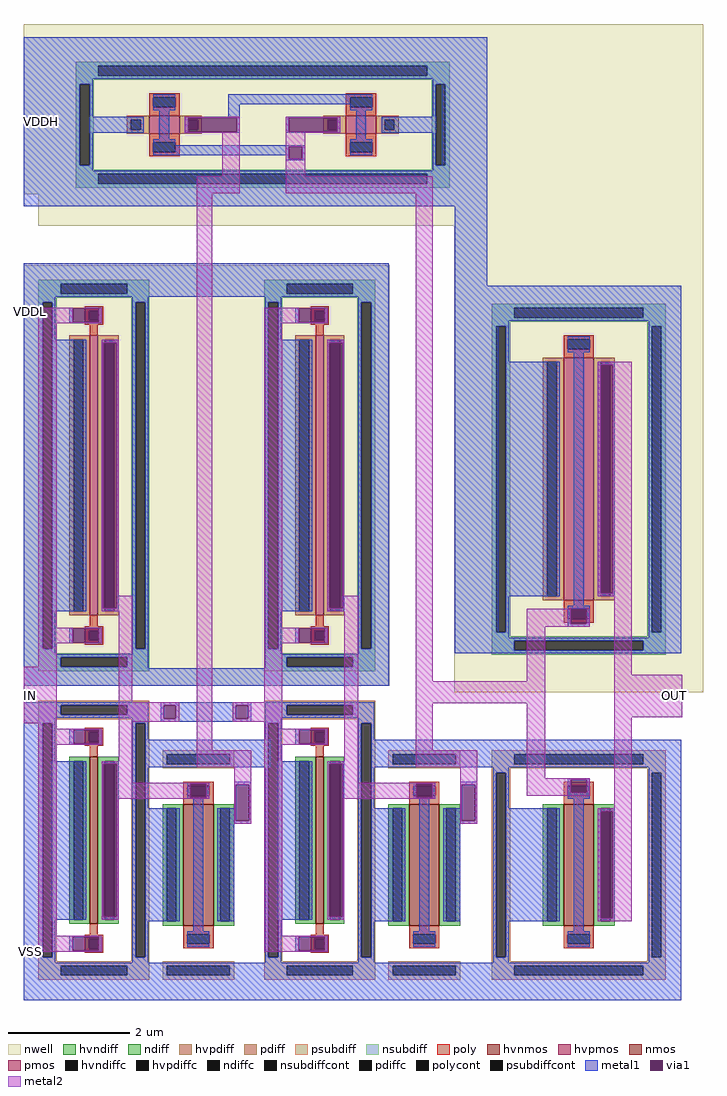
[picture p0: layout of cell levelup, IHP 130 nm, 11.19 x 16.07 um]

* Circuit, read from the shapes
.subckt levelup VDDH VDDL VSS IN OUT
XM1 n1 IN VSS VSS sg13_lv_nmos w=2.75u l=0.13u
XM2 n2 n1 VSS VSS sg13_hv_nmos w=2u l=0.5u
XM3 n3 n1 VSS VSS sg13_lv_nmos w=2.75u l=0.13u
XM4 n4 n3 VSS VSS sg13_hv_nmos w=2u l=0.5u
XM5 OUT n4 VSS VSS sg13_hv_nmos w=2u l=0.5u
XM6 n1 IN VDDL VDDL sg13_lv_pmos w=4.61u l=0.13u
XM7 n2 n4 VDDH VDDH sg13_hv_pmos w=0.3u l=0.5u
XM8 n3 n1 VDDL VDDL sg13_lv_pmos w=4.61u l=0.13u
XM9 VDDH n2 n4 VDDH sg13_hv_pmos w=0.3u l=0.5u
XM10 OUT n4 VDDH VDDH sg13_hv_pmos w=4u l=0.5u
.ends

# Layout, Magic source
magic
tech ihp-sg13g2
magscale 1 2
<< nwell >>
rect -868 1612 -816 2172
rect 5 1728 49 1768
rect -407 1344 -121 1378
rect 550 1367 1370 2172
rect -707 134 -621 182
rect -407 -8 288 1344
<< metal1 >>
rect -868 2000 659 2129
rect -868 1688 -685 2000
rect -441 1888 -369 1940
rect -194 1908 279 1940
rect -653 1814 -473 1866
rect -421 1792 -389 1888
rect -194 1866 -157 1908
rect 207 1888 279 1908
rect -337 1864 -157 1866
rect -337 1816 -327 1864
rect -167 1816 -157 1864
rect -337 1814 -157 1816
rect -5 1863 175 1866
rect -5 1817 5 1863
rect 165 1817 175 1863
rect -5 1814 175 1817
rect 227 1792 259 1888
rect 311 1814 491 1866
rect -441 1772 -369 1792
rect -441 1768 59 1772
rect -441 1740 5 1768
rect -5 1728 5 1740
rect 49 1728 59 1768
rect 207 1740 279 1792
rect -5 1724 59 1728
rect 508 1688 659 2000
rect -868 1572 659 1688
rect -868 1274 334 1384
rect -868 49 -812 1274
rect -718 1235 -611 1238
rect -718 1189 -706 1235
rect -621 1189 -611 1235
rect -718 1186 -611 1189
rect 26 1235 133 1238
rect 26 1189 38 1235
rect 123 1189 133 1235
rect 26 1186 133 1189
rect -768 238 -662 1132
rect -612 1122 -556 1132
rect -612 248 -606 1122
rect -562 248 -556 1122
rect -612 238 -556 248
rect -24 238 82 1132
rect 132 1122 188 1132
rect 132 248 138 1122
rect 182 248 188 1122
rect 132 238 188 248
rect -718 182 -611 184
rect -718 134 -707 182
rect -621 134 -611 182
rect -718 132 -611 134
rect 26 182 133 184
rect 26 134 37 182
rect 123 134 133 182
rect 26 132 133 134
rect 283 49 334 1274
rect 552 1309 659 1572
rect 552 1195 1298 1309
rect 552 99 697 1195
rect 924 1091 996 1143
rect 727 287 898 1059
rect 944 255 976 1091
rect 1022 1049 1078 1059
rect 1022 297 1032 1049
rect 1072 297 1078 1049
rect 1022 287 1078 297
rect 924 245 996 255
rect 924 196 934 245
rect 986 196 996 245
rect 924 187 996 196
rect 1200 100 1298 1195
rect -868 -8 334 49
rect -868 -920 -811 -62
rect -417 -72 -118 -62
rect -417 -116 -407 -72
rect -367 -116 -170 -72
rect -128 -116 -118 -72
rect -417 -126 -118 -116
rect -718 -153 -611 -150
rect -718 -199 -704 -153
rect -621 -199 -611 -153
rect 26 -153 133 -150
rect -718 -202 -611 -199
rect -777 -778 -662 -256
rect -612 -265 -556 -256
rect -612 -768 -606 -265
rect -562 -768 -556 -265
rect -461 -276 -54 -186
rect 26 -199 40 -153
rect 123 -199 133 -153
rect 26 -202 133 -199
rect -329 -331 -257 -328
rect -329 -377 -319 -331
rect -267 -377 -257 -331
rect -329 -380 -257 -377
rect -175 -334 -119 -324
rect -612 -778 -556 -768
rect -462 -784 -355 -412
rect -309 -816 -277 -380
rect -175 -412 -170 -334
rect -231 -452 -170 -412
rect -125 -452 -119 -334
rect -231 -462 -119 -452
rect -231 -784 -175 -462
rect -33 -778 82 -256
rect 132 -265 188 -256
rect 132 -768 138 -265
rect 182 -768 188 -265
rect 283 -276 1297 -186
rect 924 -317 996 -312
rect 415 -331 487 -328
rect 415 -377 425 -331
rect 477 -377 487 -331
rect 415 -380 487 -377
rect 569 -334 625 -324
rect 132 -778 188 -768
rect 282 -784 389 -412
rect 435 -816 467 -380
rect 569 -412 574 -334
rect 513 -452 574 -412
rect 619 -452 625 -334
rect 924 -360 934 -317
rect 986 -360 996 -317
rect 924 -380 996 -360
rect 513 -462 625 -452
rect 513 -784 569 -462
rect 726 -784 898 -412
rect 944 -816 976 -380
rect 1022 -422 1078 -412
rect 1022 -774 1032 -422
rect 1072 -774 1078 -422
rect 1022 -784 1078 -774
rect -718 -835 -611 -832
rect -718 -881 -706 -835
rect -621 -881 -611 -835
rect -329 -868 -257 -816
rect 26 -835 133 -832
rect -718 -884 -611 -881
rect 26 -881 38 -835
rect 123 -881 133 -835
rect 415 -868 487 -816
rect 924 -868 996 -816
rect 26 -884 133 -881
rect 1200 -920 1297 -276
rect -868 -1043 1297 -920
<< via1 >>
rect -327 1816 -167 1864
rect 5 1817 165 1863
rect 5 1728 49 1768
rect -706 1189 -621 1235
rect 38 1189 123 1235
rect -606 248 -562 1122
rect 138 248 182 1122
rect -707 134 -621 182
rect 37 134 123 182
rect 1032 297 1072 1049
rect 934 196 986 245
rect -407 -116 -367 -72
rect -170 -116 -128 -72
rect -704 -199 -621 -153
rect -606 -768 -562 -265
rect 40 -199 123 -153
rect -319 -377 -267 -331
rect -170 -452 -125 -334
rect 138 -768 182 -265
rect 425 -377 477 -331
rect 574 -452 619 -334
rect 934 -360 986 -317
rect 1032 -774 1072 -422
rect -706 -881 -621 -835
rect 38 -881 123 -835
<< metal2 >>
rect -337 1864 -157 1866
rect -337 1816 -327 1864
rect -167 1816 -157 1864
rect -337 1814 -157 1816
rect -215 1670 -157 1814
rect -298 1614 -157 1670
rect -5 1863 175 1866
rect -5 1817 5 1863
rect 165 1817 175 1863
rect -5 1814 175 1817
rect -5 1768 59 1814
rect -5 1728 5 1768
rect 49 1728 59 1768
rect -5 1670 59 1728
rect -5 1614 479 1670
rect -820 1235 -611 1238
rect -820 1189 -706 1235
rect -621 1189 -611 1235
rect -820 1186 -611 1189
rect -820 184 -760 1186
rect -612 1122 -556 1132
rect -612 248 -606 1122
rect -562 289 -556 1122
rect -562 248 -510 289
rect -612 238 -510 248
rect -820 182 -611 184
rect -820 134 -707 182
rect -621 134 -611 182
rect -820 132 -611 134
rect -820 54 -760 132
rect -868 -132 -760 54
rect -820 -150 -760 -132
rect -556 -62 -510 238
rect -556 -72 -356 -62
rect -556 -116 -407 -72
rect -367 -116 -356 -72
rect -556 -126 -356 -116
rect -820 -153 -611 -150
rect -820 -199 -704 -153
rect -621 -199 -611 -153
rect -820 -202 -611 -199
rect -820 -832 -760 -202
rect -556 -256 -510 -126
rect -612 -265 -510 -256
rect -612 -768 -606 -265
rect -562 -328 -510 -265
rect -298 -220 -248 1614
rect -76 1235 133 1238
rect -76 1189 38 1235
rect 123 1189 133 1235
rect -76 1186 133 1189
rect -76 184 -16 1186
rect 132 1122 188 1132
rect 132 248 138 1122
rect 182 289 188 1122
rect 182 248 234 289
rect 132 238 234 248
rect -76 182 133 184
rect -76 134 37 182
rect 123 134 133 182
rect -76 132 133 134
rect -76 -62 -16 132
rect -180 -72 -16 -62
rect -180 -116 -170 -72
rect -128 -116 -16 -72
rect -180 -126 -16 -116
rect -76 -150 -16 -126
rect -76 -153 133 -150
rect -76 -199 40 -153
rect 123 -199 133 -153
rect -76 -202 133 -199
rect -298 -276 -119 -220
rect -562 -331 -257 -328
rect -562 -377 -319 -331
rect -267 -377 -257 -331
rect -562 -380 -257 -377
rect -175 -334 -119 -276
rect -562 -768 -556 -380
rect -175 -452 -170 -334
rect -125 -452 -119 -334
rect -175 -462 -119 -452
rect -612 -778 -556 -768
rect -76 -832 -16 -202
rect 188 -256 234 238
rect 132 -265 234 -256
rect 132 -768 138 -265
rect 182 -328 234 -265
rect 423 7 479 1614
rect 1022 1049 1135 1059
rect 1022 297 1032 1049
rect 1072 297 1135 1049
rect 1022 287 1135 297
rect 789 196 934 245
rect 986 196 996 245
rect 789 187 996 196
rect 789 7 850 187
rect 423 -65 850 7
rect 423 -220 479 -65
rect 423 -276 625 -220
rect 182 -331 487 -328
rect 182 -377 425 -331
rect 477 -377 487 -331
rect 182 -380 487 -377
rect 569 -334 625 -276
rect 182 -768 188 -380
rect 569 -452 574 -334
rect 619 -452 625 -334
rect 789 -312 850 -65
rect 1077 29 1135 287
rect 1077 -111 1301 29
rect 789 -317 996 -312
rect 789 -360 934 -317
rect 986 -360 996 -317
rect 789 -370 996 -360
rect 1077 -412 1135 -111
rect 569 -462 625 -452
rect 1022 -422 1135 -412
rect 132 -778 188 -768
rect 1022 -774 1032 -422
rect 1072 -774 1135 -422
rect 1022 -784 1135 -774
rect -820 -835 -611 -832
rect -820 -881 -706 -835
rect -621 -881 -611 -835
rect -820 -884 -611 -881
rect -76 -835 133 -832
rect -76 -881 38 -835
rect 123 -881 133 -835
rect -76 -884 133 -881
use hvnmos_S23XCS  hvnmos_S23XCS_0
transform 1 0 960 0 1 -598
box -286 -378 286 378
use hvnmos_SAXWCS  hvnmos_SAXWCS_0
transform 1 0 -293 0 1 -598
box -118 -378 118 378
use hvnmos_SAXWCS  hvnmos_SAXWCS_1
transform 1 0 451 0 1 -598
box -118 -378 118 378
use hvpmos_G6BEXS  hvpmos_G6BEXS_0
transform 1 0 -405 0 1 1840
box -416 -332 1064 332
use hvpmos_Q23XCS  hvpmos_Q23XCS_0
transform 1 0 960 0 1 673
box -410 -702 410 702
use lvnmos_5Y4P6Y  lvnmos_5Y4P6Y_0
transform 1 0 -637 0 1 -517
box -183 -459 183 459
use lvnmos_5Y4P6Y  lvnmos_5Y4P6Y_1
transform 1 0 107 0 1 -517
box -183 -459 183 459
use lvpmos_5A4K6Y  lvpmos_5A4K6Y_0
transform 1 0 -637 0 1 685
box -231 -693 231 693
use lvpmos_5A4K6Y  lvpmos_5A4K6Y_1
transform 1 0 107 0 1 685
box -231 -693 231 693
<< labels >>
flabel metal1 -868 1066 -821 1384 0 FreeSans 400 0 0 0 VDDL
port 1 nsew
flabel metal1 -868 -1043 -821 -725 0 FreeSans 400 0 0 0 VSS
port 2 nsew
flabel metal2 -868 -132 -821 54 0 FreeSans 400 0 0 0 IN
port 3 nsew
flabel metal2 1253 -111 1301 29 0 FreeSans 400 0 0 0 OUT
port 4 nsew
flabel metal1 -868 1572 -751 2129 0 FreeSans 400 0 0 0 VDDH
port 0 nsew
<< end >>

# cell hvnmos_S23XCS: kit device hvnmos, w 2 l 0.5 nf 1 nx 1 dx 0.21 ny 1 dy 0.18 wmin 0.50 lmin 0.50 class mosfet gcontcov_t 100 gcontcov_b 100 dcontcov_l 100 dcontcov_r 100 guard_distf 1 glc 1 grc 1 gtc 1 gbc 1

# cell hvnmos_SAXWCS: kit device hvnmos, w 2 l 0.5 nf 1 nx 1 dx 0.21 ny 1 dy 0.18 wmin 0.50 lmin 0.50 class mosfet gcontcov_t 100 gcontcov_b 100 dcontcov_l 100 dcontcov_r 100 guard_distf 1 glc 0 grc 0 gtc 1 gbc 1

# cell hvpmos_G6BEXS: kit device hvpmos, w 0.3 l 0.5 nf 1 nx 2 dx 2 ny 1 dy 0.18 wmin 0.50 lmin 0.50 class mosfet gcontcov_t 100 gcontcov_b 100 dcontcov_l 100 dcontcov_r 100 guard_distf 1 glc 1 grc 1 gtc 1 gbc 1

# cell hvpmos_Q23XCS: kit device hvpmos, w 4 l 0.5 nf 1 nx 1 dx 0.21 ny 1 dy 0.18 wmin 0.50 lmin 0.50 class mosfet gcontcov_t 100 gcontcov_b 100 dcontcov_l 100 dcontcov_r 100 guard_distf 1 glc 1 grc 1 gtc 1 gbc 1

# cell lvnmos_5Y4P6Y: kit device lvnmos, w 2.75 l 0.13 nf 1 nx 1 dx 0.21 ny 1 dy 0.18 wmin 0.50 lmin 0.50 class mosfet gcontcov_t 100 gcontcov_b 100 dcontcov_l 100 dcontcov_r 100 guard_distf 1 glc 1 grc 1 gtc 1 gbc 1

# cell lvpmos_5A4K6Y: kit device lvpmos, w 4.61 l 0.13 nf 1 nx 1 dx 0.21 ny 1 dy 0.18 wmin 0.50 lmin 0.50 class mosfet gcontcov_t 100 gcontcov_b 100 dcontcov_l 100 dcontcov_r 100 guard_distf 1 glc 1 grc 1 gtc 1 gbc 1
